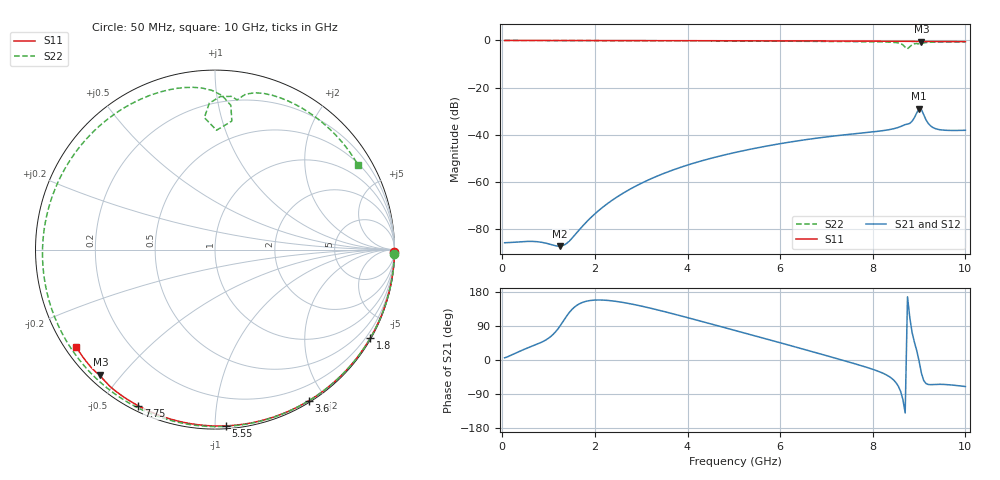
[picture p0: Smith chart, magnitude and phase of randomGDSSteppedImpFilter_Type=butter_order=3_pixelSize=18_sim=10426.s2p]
! freq	dB(S11)	phase(S11)	dB(S12)	phase(S12)
!  dB(S21)	phase(S21)	dB(S22)	phase(S22)
!S-par simulation data
#  GHz  S  DB  R 50
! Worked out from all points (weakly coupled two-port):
!   200 points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, 50 MHz to 10 GHz, reference 50 ohm
!   highest |S21| = -28.87 dB at 9 GHz (marker M1); lowest = -87.2 dB at 1.25 GHz (marker M2)
!   lowest |S11| = -0.5 dB at 9.05 GHz (marker M3), VSWR 35.09, Z = 1.7 - j22 ohm
!   |S11| at or under -10 dB: nowhere
!   |S22| runs from -3.5 to 0.0 dB; largest |S21 - S12| = 0
!   S11 on the Smith chart (normalised r, x): 50 MHz: open; 1.8 GHz: 0.03, -3.76; 3.6 GHz: 0.02, -1.80; 5.55 GHz: 0.02, -1.06; 7.75 GHz: 0.02, -0.62; 10 GHz: 0.03, -0.32
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0.05  -0.00 -0.8  -85.74 5.8  -85.74 5.8  -0.00 -1.4
1.25  -0.03 -20.8  -87.19 90.3  -87.19 90.3  -0.04 -35.0
1.65  -0.03 -27.3  -80.55 147.3  -80.55 147.3  -0.06 -46.0
1.75  -0.04 -29.0  -78.34 152.7  -78.34 152.7  -0.06 -48.7
1.8  -0.04 -29.8  -77.29 154.6  -77.29 154.6  -0.06 -50.1
2.5  -0.05 -41.0  -66.06 154.0  -66.06 154.0  -0.09 -69.0
3.4  -0.07 -55.0  -57.04 130.8  -57.04 130.8  -0.12 -93.1
3.6  -0.08 -58.1  -55.51 124.6  -55.51 124.6  -0.13 -98.4
5.05  -0.12 -79.5  -47.38 77.2  -47.38 77.2  -0.22 -137.9
5.55  -0.14 -86.5  -45.35 60.6  -45.35 60.6  -0.26 -152.3
6.7  -0.20 -102.3  -41.65 21.8  -41.65 21.8  -0.38 171.3
7.75  -0.27 -116.1  -39.26 -14.9  -39.26 -14.9  -0.52 131.3
8.35  -0.32 -123.9  -37.82 -43.3  -37.82 -43.3  -0.70 103.2
8.65  -0.35 -128.0  -36.07 -103.9  -36.07 -103.9  -1.85 83.7
8.75  -0.39 -129.2  -35.45 166.8  -35.45 166.8  -3.54 89.2
8.8  -0.40 -129.8  -35.14 111.3  -35.14 111.3  -2.64 94.6
8.9  -0.42 -131.2  -32.69 46.5  -32.69 46.5  -1.37 88.0
9  -0.49 -132.3  -28.87 -2.9  -28.87 -2.9  -1.48 81.6
9.05  -0.50 -132.5  -29.26 -34.5  -29.26 -34.5  -1.39 81.0
9.2  -0.43 -134.4  -35.21 -64.7  -35.21 -64.7  -0.80 72.6
9.3  -0.42 -135.7  -36.91 -64.8  -36.91 -64.8  -0.72 66.7
10  -0.49 -144.8  -38.08 -70.1  -38.08 -70.1  -0.66 30.8
